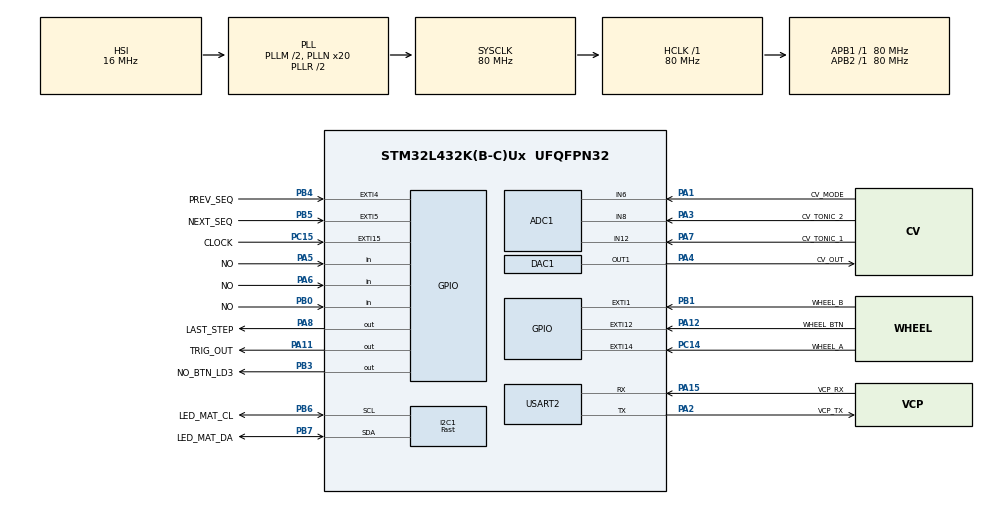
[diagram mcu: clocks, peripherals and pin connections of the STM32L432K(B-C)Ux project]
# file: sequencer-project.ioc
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ADC1.Channel-1\#ChannelRegularConversion=ADC_CHANNEL_12
ADC1.Channel-2\#ChannelRegularConversion=ADC_CHANNEL_8
ADC1.Channel-3\#ChannelRegularConversion=ADC_CHANNEL_6
ADC1.ContinuousConvMode=ENABLE
ADC1.DMAContinuousRequests=ENABLE
ADC1.DataAlign=ADC_DATAALIGN_RIGHT
ADC1.ExternalTrigConv=ADC_SOFTWARE_START
ADC1.NbrOfConversion=3
ADC1.NbrOfConversionFlag=1
ADC1.OffsetNumber-1\#ChannelRegularConversion=ADC_OFFSET_NONE
ADC1.OffsetNumber-2\#ChannelRegularConversion=ADC_OFFSET_NONE
ADC1.OffsetNumber-3\#ChannelRegularConversion=ADC_OFFSET_NONE
ADC1.Rank-1\#ChannelRegularConversion=1
ADC1.Rank-2\#ChannelRegularConversion=2
ADC1.Rank-3\#ChannelRegularConversion=3
ADC1.SamplingTime-1\#ChannelRegularConversion=ADC_SAMPLETIME_12CYCLES_5
ADC1.SamplingTime-2\#ChannelRegularConversion=ADC_SAMPLETIME_2CYCLES_5
ADC1.SamplingTime-3\#ChannelRegularConversion=ADC_SAMPLETIME_2CYCLES_5
ADC1.master=1
Dma.ADC1.0.Direction=DMA_PERIPH_TO_MEMORY
Dma.ADC1.0.Instance=DMA1_Channel1
Dma.ADC1.0.MemDataAlignment=DMA_MDATAALIGN_HALFWORD
Dma.ADC1.0.MemInc=DMA_MINC_ENABLE
Dma.ADC1.0.Mode=DMA_CIRCULAR
Dma.ADC1.0.PeriphDataAlignment=DMA_PDATAALIGN_HALFWORD
Dma.ADC1.0.PeriphInc=DMA_PINC_DISABLE
Dma.ADC1.0.Priority=DMA_PRIORITY_LOW
Dma.Request0=ADC1
I2C1.I2C_Speed_Mode=I2C_Fast
I2C1.OwnAddress=0x70
I2C1.Timing=0x00702991
Mcu.Family=STM32L4
Mcu.Name=STM32L432K(B-C)Ux
Mcu.Package=UFQFPN32
NVIC.EXTI15_10_IRQn=true\:0\:0\:true\:false\:true\:true\:true
NVIC.EXTI1_IRQn=true\:2\:0\:true\:false\:true\:true\:true
NVIC.EXTI9_5_IRQn=true\:2\:0\:true\:false\:true\:true\:true
NVIC.PriorityGroup=NVIC_PRIORITYGROUP_4
NVIC.TIM2_IRQn=true\:3\:0\:true\:false\:true\:true\:true
NVIC.TIM6_DAC_IRQn=true\:1\:0\:true\:false\:true\:true\:true
PA0.GPIO_Label=MCO [High speed clock in]
PA0.Mode=HSE-External-Clock-Source-for-LittleOrca
PA0.Signal=RCC_CK_IN
PA1.GPIO_Label=CV_MODE
PA1.Signal=ADCx_IN6
PA11.GPIO_Label=TRIG_OUT
PA11.Signal=GPIO_Output
PA12.GPIO_Label=WHEEL_BTN
PA12.GPIO_ModeDefaultEXTI=GPIO_MODE_IT_RISING
PA12.Signal=GPXTI12
PA13\ (JTMS-SWDIO).GPIO_Label=SWDIO
PA13\ (JTMS-SWDIO).Mode=Serial_Wire
PA13\ (JTMS-SWDIO).Signal=SYS_JTMS-SWDIO
PA14\ (JTCK-SWCLK).GPIO_Label=SWCLK
PA14\ (JTCK-SWCLK).Mode=Serial_Wire
PA14\ (JTCK-SWCLK).Signal=SYS_JTCK-SWCLK
PA15\ (JTDI).GPIO_Label=VCP_RX
PA15\ (JTDI).Mode=Asynchronous
PA15\ (JTDI).Signal=USART2_RX
PA2.GPIO_Label=VCP_TX
PA2.Mode=Asynchronous
PA2.Signal=USART2_TX
PA3.GPIO_Label=CV_TONIC_2
PA3.Signal=ADCx_IN8
PA4.GPIO_Label=CV_OUT
PA4.Signal=COMP_DAC11_group
PA5.GPIO_Label=NO
PA5.Signal=GPIO_Input
PA6.GPIO_Label=NO
PA6.Signal=GPIO_Input
PA7.GPIO_Label=CV_TONIC_1
PA7.Signal=ADCx_IN12
PA8.GPIO_Label=LAST_STEP
PA8.Signal=GPIO_Output
PB0.GPIO_Label=NO
PB0.Signal=GPIO_Input
PB1.GPIO_Label=WHEEL_B
PB1.Signal=GPXTI1
PB3\ (JTDO-TRACESWO).GPIO_Label=NO_BTN_LD3
PB3\ (JTDO-TRACESWO).Signal=GPIO_Output
PB4\ (NJTRST).GPIO_Label=PREV_SEQ
PB4\ (NJTRST).Signal=GPXTI4
PB5.GPIO_Label=NEXT_SEQ
PB5.GPIO_PuPd=GPIO_PULLUP
PB5.Signal=GPXTI5
PB6.GPIO_Label=LED_MAT_CL
PB6.Mode=I2C
PB6.Signal=I2C1_SCL
PB7.GPIO_Label=LED_MAT_DA
PB7.Mode=I2C
PB7.Signal=I2C1_SDA
PC14-OSC32_IN\ (PC14).GPIO_Label=WHEEL_A
PC14-OSC32_IN\ (PC14).Signal=GPXTI14
PC15-OSC32_OUT\ (PC15).GPIO_Label=CLOCK
PC15-OSC32_OUT\ (PC15).GPIO_PuPd=GPIO_PULLUP
PC15-OSC32_OUT\ (PC15).Signal=GPXTI15
ProjectManager.HeapSize=0x200
ProjectManager.StackSize=0x400
ProjectManager.TargetToolchain=STM32CubeIDE
RCC.ADCFreq_Value=32000000
RCC.AHBFreq_Value=80000000
RCC.APB1Freq_Value=80000000
RCC.APB1TimFreq_Value=80000000
RCC.APB2Freq_Value=80000000
RCC.APB2TimFreq_Value=80000000
RCC.CK48CLockSelection=RCC_USBCLKSOURCE_HSI48
RCC.CortexFreq_Value=80000000
RCC.HCLKFreq_Value=80000000
RCC.HSE_VALUE=8000000
RCC.HSI16_VALUE=16000000
RCC.HSI48_VALUE=48000000
RCC.HSI_VALUE=16000000
RCC.LSE_VALUE=32768
RCC.MSI_VALUE=4000000
RCC.PLLM=2
RCC.PLLMUL=RCC_PLLMUL_4
RCC.PLLN=20
RCC.PLLSourceVirtual=RCC_PLLSOURCE_HSI
RCC.SYSCLKFreq_VALUE=80000000
RCC.SYSCLKSource=RCC_SYSCLKSOURCE_PLLCLK
RCC.USBFreq_Value=48000000
RCC.VCOOutputFreq_Value=160000000
SH.ADCx_IN12.0=ADC1_IN12,IN12-Single-Ended
SH.ADCx_IN6.0=ADC1_IN6,IN6-Single-Ended
SH.ADCx_IN8.0=ADC1_IN8,IN8-Single-Ended
SH.COMP_DAC11_group.0=DAC1_OUT1,DAC_OUT1
TIM2.Period=7999999
TIM2.TIM_MasterOutputTrigger=TIM_TRGO_UPDATE
TIM6.Period=7999
TIM6.Prescaler=4999
USART2.VirtualMode-Asynchronous=VM_ASYNC
VP_RNG_VS_RNG.Mode=RNG_Activate
VP_TIM2_VS_ClockSourceINT.Mode=Internal
VP_TIM6_VS_ClockSourceINT.Mode=Enable_Timer
board=NUCLEO-L432KC

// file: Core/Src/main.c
/* USER CODE BEGIN Header */
/**
  ******************************************************************************
  * @file           : main.c
  * @brief          : Main program body
  ******************************************************************************
  * @attention
  *
  * <h2><center>&copy; Copyright (c) 2021 STMicroelectronics.
  * All rights reserved.</center></h2>
  *
  * This software component is licensed by ST under BSD 3-Clause license,
  * the "License"; You may not use this file except in compliance with the
  * License. You may obtain a copy of the License at:
  *                        opensource.org/licenses/BSD-3-Clause
  *
  ******************************************************************************
  */
/* USER CODE END Header */
#include "main.h"

ADC_HandleTypeDef hadc1;
DMA_HandleTypeDef hdma_adc1;

DAC_HandleTypeDef hdac1;

I2C_HandleTypeDef hi2c1;

RNG_HandleTypeDef hrng;

TIM_HandleTypeDef htim2;
TIM_HandleTypeDef htim6;

UART_HandleTypeDef huart2;

/* USER CODE BEGIN PV */
seq_TypeDef seq_struct;
uint16_t seq_adc[3];
uint16_t conversion_table[0x1000];
seq_parametres_TypeDef parametres;
seq_memoire_TypeDef memory;

/* USER CODE END PV */

void SystemClock_Config(void);
static void MX_GPIO_Init(void);
static void MX_DMA_Init(void);
static void MX_USART2_UART_Init(void);
static void MX_ADC1_Init(void);
static void MX_DAC1_Init(void);
static void MX_I2C1_Init(void);
static void MX_TIM2_Init(void);
static void MX_RNG_Init(void);
static void MX_TIM6_Init(void);

int main(void)
{

  /* MCU Configuration--------------------------------------------------------*/

  /* Reset of all peripherals, Initializes the Flash interface and the Systick. */
  HAL_Init();

  /* Configure the system clock */
  SystemClock_Config();

  /* Initialize all configured peripherals */
  MX_GPIO_Init();
  MX_DMA_Init();
  MX_USART2_UART_Init();
  MX_ADC1_Init();
  MX_DAC1_Init();
  MX_I2C1_Init();
  MX_TIM2_Init();
  MX_RNG_Init();
  MX_TIM6_Init();
  /* USER CODE BEGIN 2 */

  for(int i=0; i<8; ++i)
  {
	  memory.def[i] = 0;
  }
  memory.position = 0;

  const int32_t n1_cal = 1927;
  const int32_t n2_cal = 2167;
  const float v1_pre_correction = 1.0078; //V pré-correction
  const float v2_pre_correction = 2.2395; //V pré-correction
  const float gain_ideal = 1./12.;
  const float offset_ideal = -gain_ideal * 60;

//const float offset_correction = 0;
//const float gain_correction = 1;

  const float gain_correction = gain_ideal
		  * (n1_cal - n2_cal)
		  /(v1_pre_correction - v2_pre_correction);
  const float offset_correction =
		  (
				  (n1_cal - n2_cal) * offset_ideal
				  + n2_cal * v1_pre_correction
				  - n1_cal * v2_pre_correction)
		  /(v1_pre_correction - v2_pre_correction);

  int32_t temp;
  uint32_t i;

  for(i=0; i<0x1000; ++i)
  {
  	  temp = gain_correction * i + offset_correction;
  	  if(temp>0xFFF) temp = 0xFFF;
  	  else if(temp<0) temp = 0;
  	  conversion_table[i] = (uint16_t) (temp);
  }

  uint8_t mat_init[3] = {0x21,0xE0,0x81};
  HAL_Delay(1);
  RNG->CR |=1;
  for(int i=0; i<3;++i)
  {
	  HAL_I2C_Master_Transmit(&hi2c1, 0xE0, &(mat_init[i]), 1, 1000);
	  HAL_Delay(1);
  }
  //HAL_I2C_Master_Transmit(&hi2c1, 0xE0, table, 17, 1000);
  seq_struct.step = 0;
  seq_struct.leds[0] = 0;

//  seq_gen(&seq_struct);
  HAL_ADC_Start_DMA(&hadc1, (uint32_t*) seq_adc, 3);
  HAL_DAC_Start(&hdac1, DAC_CHANNEL_1);
  parametres.tonique_jck = 60;
  parametres.tonique_jck = 60;
  seq_read_mem(&memory);

  HAL_TIM_Base_Start_IT(&htim6);

  HAL_TIM_Base_Start_IT(&htim2);
  /* USER CODE END 2 */

  /* Infinite loop */
  while (1)
  {

  }
}

void SystemClock_Config(void)
{
  RCC_OscInitTypeDef RCC_OscInitStruct = {0};
  RCC_ClkInitTypeDef RCC_ClkInitStruct = {0};
  RCC_PeriphCLKInitTypeDef PeriphClkInit = {0};

  /** Initializes the RCC Oscillators according to the specified parameters
  * in the RCC_OscInitTypeDef structure.
  */
  RCC_OscInitStruct.OscillatorType = RCC_OSCILLATORTYPE_HSI48|RCC_OSCILLATORTYPE_HSI;
  RCC_OscInitStruct.HSIState = RCC_HSI_ON;
  RCC_OscInitStruct.HSI48State = RCC_HSI48_ON;
  RCC_OscInitStruct.HSICalibrationValue = RCC_HSICALIBRATION_DEFAULT;
  RCC_OscInitStruct.PLL.PLLState = RCC_PLL_ON;
  RCC_OscInitStruct.PLL.PLLSource = RCC_PLLSOURCE_HSI;
  RCC_OscInitStruct.PLL.PLLM = 2;
  RCC_OscInitStruct.PLL.PLLN = 20;
  RCC_OscInitStruct.PLL.PLLP = RCC_PLLP_DIV7;
  RCC_OscInitStruct.PLL.PLLQ = RCC_PLLQ_DIV2;
  RCC_OscInitStruct.PLL.PLLR = RCC_PLLR_DIV2;
  if (HAL_RCC_OscConfig(&RCC_OscInitStruct) != HAL_OK)
  {
    Error_Handler();
  }
  /** Initializes the CPU, AHB and APB buses clocks
  */
  RCC_ClkInitStruct.ClockType = RCC_CLOCKTYPE_HCLK|RCC_CLOCKTYPE_SYSCLK
                              |RCC_CLOCKTYPE_PCLK1|RCC_CLOCKTYPE_PCLK2;
  RCC_ClkInitStruct.SYSCLKSource = RCC_SYSCLKSOURCE_PLLCLK;
  RCC_ClkInitStruct.AHBCLKDivider = RCC_SYSCLK_DIV1;
  RCC_ClkInitStruct.APB1CLKDivider = RCC_HCLK_DIV1;
  RCC_ClkInitStruct.APB2CLKDivider = RCC_HCLK_DIV1;

  if (HAL_RCC_ClockConfig(&RCC_ClkInitStruct, FLASH_LATENCY_4) != HAL_OK)
  {
    Error_Handler();
  }
  PeriphClkInit.PeriphClockSelection = RCC_PERIPHCLK_USART2|RCC_PERIPHCLK_I2C1
                              |RCC_PERIPHCLK_RNG|RCC_PERIPHCLK_ADC;
  PeriphClkInit.Usart2ClockSelection = RCC_USART2CLKSOURCE_PCLK1;
  PeriphClkInit.I2c1ClockSelection = RCC_I2C1CLKSOURCE_PCLK1;
  PeriphClkInit.AdcClockSelection = RCC_ADCCLKSOURCE_PLLSAI1;
  PeriphClkInit.RngClockSelection = RCC_RNGCLKSOURCE_HSI48;
  PeriphClkInit.PLLSAI1.PLLSAI1Source = RCC_PLLSOURCE_HSI;
  PeriphClkInit.PLLSAI1.PLLSAI1M = 2;
  PeriphClkInit.PLLSAI1.PLLSAI1N = 8;
  PeriphClkInit.PLLSAI1.PLLSAI1P = RCC_PLLP_DIV7;
  PeriphClkInit.PLLSAI1.PLLSAI1Q = RCC_PLLQ_DIV2;
  PeriphClkInit.PLLSAI1.PLLSAI1R = RCC_PLLR_DIV2;
  PeriphClkInit.PLLSAI1.PLLSAI1ClockOut = RCC_PLLSAI1_ADC1CLK;
  if (HAL_RCCEx_PeriphCLKConfig(&PeriphClkInit) != HAL_OK)
  {
    Error_Handler();
  }
  /** Configure the main internal regulator output voltage
  */
  if (HAL_PWREx_ControlVoltageScaling(PWR_REGULATOR_VOLTAGE_SCALE1) != HAL_OK)
  {
    Error_Handler();
  }
}

static void MX_ADC1_Init(void)
{

  ADC_ChannelConfTypeDef sConfig = {0};

  /** Common config
  */
  hadc1.Instance = ADC1;
  hadc1.Init.ClockPrescaler = ADC_CLOCK_ASYNC_DIV1;
  hadc1.Init.Resolution = ADC_RESOLUTION_12B;
  hadc1.Init.DataAlign = ADC_DATAALIGN_RIGHT;
  hadc1.Init.ScanConvMode = ADC_SCAN_ENABLE;
  hadc1.Init.EOCSelection = ADC_EOC_SINGLE_CONV;
  hadc1.Init.LowPowerAutoWait = DISABLE;
  hadc1.Init.ContinuousConvMode = ENABLE;
  hadc1.Init.NbrOfConversion = 3;
  hadc1.Init.DiscontinuousConvMode = DISABLE;
  hadc1.Init.ExternalTrigConv = ADC_SOFTWARE_START;
  hadc1.Init.ExternalTrigConvEdge = ADC_EXTERNALTRIGCONVEDGE_NONE;
  hadc1.Init.DMAContinuousRequests = ENABLE;
  hadc1.Init.Overrun = ADC_OVR_DATA_PRESERVED;
  hadc1.Init.OversamplingMode = DISABLE;
  if (HAL_ADC_Init(&hadc1) != HAL_OK)
  {
    Error_Handler();
  }
  /** Configure Regular Channel
  */
  sConfig.Channel = ADC_CHANNEL_12;
  sConfig.Rank = ADC_REGULAR_RANK_1;
  sConfig.SamplingTime = ADC_SAMPLETIME_12CYCLES_5;
  sConfig.SingleDiff = ADC_SINGLE_ENDED;
  sConfig.OffsetNumber = ADC_OFFSET_NONE;
  sConfig.Offset = 0;
  if (HAL_ADC_ConfigChannel(&hadc1, &sConfig) != HAL_OK)
  {
    Error_Handler();
  }
  /** Configure Regular Channel
  */
  sConfig.Channel = ADC_CHANNEL_8;
  sConfig.Rank = ADC_REGULAR_RANK_2;
  sConfig.SamplingTime = ADC_SAMPLETIME_2CYCLES_5;
  if (HAL_ADC_ConfigChannel(&hadc1, &sConfig) != HAL_OK)
  {
    Error_Handler();
  }
  /** Configure Regular Channel
  */
  sConfig.Channel = ADC_CHANNEL_6;
  sConfig.Rank = ADC_REGULAR_RANK_3;
  if (HAL_ADC_ConfigChannel(&hadc1, &sConfig) != HAL_OK)
  {
    Error_Handler();
  }

}

static void MX_DAC1_Init(void)
{

  DAC_ChannelConfTypeDef sConfig = {0};

  /** DAC Initialization
  */
  hdac1.Instance = DAC1;
  if (HAL_DAC_Init(&hdac1) != HAL_OK)
  {
    Error_Handler();
  }
  /** DAC channel OUT1 config
  */
  sConfig.DAC_SampleAndHold = DAC_SAMPLEANDHOLD_DISABLE;
  sConfig.DAC_Trigger = DAC_TRIGGER_NONE;
  sConfig.DAC_OutputBuffer = DAC_OUTPUTBUFFER_ENABLE;
  sConfig.DAC_ConnectOnChipPeripheral = DAC_CHIPCONNECT_DISABLE;
  sConfig.DAC_UserTrimming = DAC_TRIMMING_FACTORY;
  if (HAL_DAC_ConfigChannel(&hdac1, &sConfig, DAC_CHANNEL_1) != HAL_OK)
  {
    Error_Handler();
  }

}

static void MX_I2C1_Init(void)
{

  hi2c1.Instance = I2C1;
  hi2c1.Init.Timing = 0x00702991;
  hi2c1.Init.OwnAddress1 = 224;
  hi2c1.Init.AddressingMode = I2C_ADDRESSINGMODE_7BIT;
  hi2c1.Init.DualAddressMode = I2C_DUALADDRESS_DISABLE;
  hi2c1.Init.OwnAddress2 = 0;
  hi2c1.Init.OwnAddress2Masks = I2C_OA2_NOMASK;
  hi2c1.Init.GeneralCallMode = I2C_GENERALCALL_DISABLE;
  hi2c1.Init.NoStretchMode = I2C_NOSTRETCH_DISABLE;
  if (HAL_I2C_Init(&hi2c1) != HAL_OK)
  {
    Error_Handler();
  }
  /** Configure Analogue filter
  */
  if (HAL_I2CEx_ConfigAnalogFilter(&hi2c1, I2C_ANALOGFILTER_ENABLE) != HAL_OK)
  {
    Error_Handler();
  }
  /** Configure Digital filter
  */
  if (HAL_I2CEx_ConfigDigitalFilter(&hi2c1, 0) != HAL_OK)
  {
    Error_Handler();
  }

}

static void MX_RNG_Init(void)
{

  hrng.Instance = RNG;
  if (HAL_RNG_Init(&hrng) != HAL_OK)
  {
    Error_Handler();
  }

}

static void MX_TIM2_Init(void)
{

  TIM_ClockConfigTypeDef sClockSourceConfig = {0};
  TIM_MasterConfigTypeDef sMasterConfig = {0};

  htim2.Instance = TIM2;
  htim2.Init.Prescaler = 0;
  htim2.Init.CounterMode = TIM_COUNTERMODE_UP;
  htim2.Init.Period = 7999999;
  htim2.Init.ClockDivision = TIM_CLOCKDIVISION_DIV1;
  htim2.Init.AutoReloadPreload = TIM_AUTORELOAD_PRELOAD_DISABLE;
  if (HAL_TIM_Base_Init(&htim2) != HAL_OK)
  {
    Error_Handler();
  }
  sClockSourceConfig.ClockSource = TIM_CLOCKSOURCE_INTERNAL;
  if (HAL_TIM_ConfigClockSource(&htim2, &sClockSourceConfig) != HAL_OK)
  {
    Error_Handler();
  }
  sMasterConfig.MasterOutputTrigger = TIM_TRGO_UPDATE;
  sMasterConfig.MasterSlaveMode = TIM_MASTERSLAVEMODE_DISABLE;
  if (HAL_TIMEx_MasterConfigSynchronization(&htim2, &sMasterConfig) != HAL_OK)
  {
    Error_Handler();
  }

}

static void MX_TIM6_Init(void)
{

  TIM_MasterConfigTypeDef sMasterConfig = {0};

  htim6.Instance = TIM6;
  htim6.Init.Prescaler = 4999;
  htim6.Init.CounterMode = TIM_COUNTERMODE_UP;
  htim6.Init.Period = 7999;
  htim6.Init.AutoReloadPreload = TIM_AUTORELOAD_PRELOAD_DISABLE;
  if (HAL_TIM_Base_Init(&htim6) != HAL_OK)
  {
    Error_Handler();
  }
  sMasterConfig.MasterOutputTrigger = TIM_TRGO_RESET;
  sMasterConfig.MasterSlaveMode = TIM_MASTERSLAVEMODE_DISABLE;
  if (HAL_TIMEx_MasterConfigSynchronization(&htim6, &sMasterConfig) != HAL_OK)
  {
    Error_Handler();
  }

}

static void MX_USART2_UART_Init(void)
{

  huart2.Instance = USART2;
  huart2.Init.BaudRate = 115200;
  huart2.Init.WordLength = UART_WORDLENGTH_8B;
  huart2.Init.StopBits = UART_STOPBITS_1;
  huart2.Init.Parity = UART_PARITY_NONE;
  huart2.Init.Mode = UART_MODE_TX_RX;
  huart2.Init.HwFlowCtl = UART_HWCONTROL_NONE;
  huart2.Init.OverSampling = UART_OVERSAMPLING_16;
  huart2.Init.OneBitSampling = UART_ONE_BIT_SAMPLE_DISABLE;
  huart2.AdvancedInit.AdvFeatureInit = UART_ADVFEATURE_NO_INIT;
  if (HAL_UART_Init(&huart2) != HAL_OK)
  {
    Error_Handler();
  }

}

static void MX_DMA_Init(void)
{

  /* DMA controller clock enable */
  __HAL_RCC_DMA1_CLK_ENABLE();

}

static void MX_GPIO_Init(void)
{
  GPIO_InitTypeDef GPIO_InitStruct = {0};

  /* GPIO Ports Clock Enable */
  __HAL_RCC_GPIOC_CLK_ENABLE();
  __HAL_RCC_GPIOA_CLK_ENABLE();
  __HAL_RCC_GPIOB_CLK_ENABLE();

  /*Configure GPIO pin Output Level */
  HAL_GPIO_WritePin(GPIOA, LAST_STEP_Pin|TRIG_OUT_Pin, GPIO_PIN_RESET);

  /*Configure GPIO pin Output Level */
  HAL_GPIO_WritePin(NO_BTN_LD3_GPIO_Port, NO_BTN_LD3_Pin, GPIO_PIN_RESET);

  /*Configure GPIO pin : WHEEL_A_Pin */
  GPIO_InitStruct.Pin = WHEEL_A_Pin;
  GPIO_InitStruct.Mode = GPIO_MODE_IT_RISING;
  GPIO_InitStruct.Pull = GPIO_NOPULL;
  HAL_GPIO_Init(WHEEL_A_GPIO_Port, &GPIO_InitStruct);

  /*Configure GPIO pin : CLOCK_Pin */
  GPIO_InitStruct.Pin = CLOCK_Pin;
  GPIO_InitStruct.Mode = GPIO_MODE_IT_RISING;
  GPIO_InitStruct.Pull = GPIO_PULLUP;
  HAL_GPIO_Init(CLOCK_GPIO_Port, &GPIO_InitStruct);

  /*Configure GPIO pins : NO_Pin NOA6_Pin */
  GPIO_InitStruct.Pin = NO_Pin|NOA6_Pin;
  GPIO_InitStruct.Mode = GPIO_MODE_INPUT;
  GPIO_InitStruct.Pull = GPIO_NOPULL;
  HAL_GPIO_Init(GPIOA, &GPIO_InitStruct);

  /*Configure GPIO pin : NOB0_Pin */
  GPIO_InitStruct.Pin = NOB0_Pin;
  GPIO_InitStruct.Mode = GPIO_MODE_INPUT;
  GPIO_InitStruct.Pull = GPIO_NOPULL;
  HAL_GPIO_Init(NOB0_GPIO_Port, &GPIO_InitStruct);

  /*Configure GPIO pins : WHEEL_B_Pin PREV_SEQ_Pin */
  GPIO_InitStruct.Pin = WHEEL_B_Pin|PREV_SEQ_Pin;
  GPIO_InitStruct.Mode = GPIO_MODE_IT_RISING;
  GPIO_InitStruct.Pull = GPIO_NOPULL;
  HAL_GPIO_Init(GPIOB, &GPIO_InitStruct);

  /*Configure GPIO pins : LAST_STEP_Pin TRIG_OUT_Pin */
  GPIO_InitStruct.Pin = LAST_STEP_Pin|TRIG_OUT_Pin;
  GPIO_InitStruct.Mode = GPIO_MODE_OUTPUT_PP;
  GPIO_InitStruct.Pull = GPIO_NOPULL;
  GPIO_InitStruct.Speed = GPIO_SPEED_FREQ_LOW;
  HAL_GPIO_Init(GPIOA, &GPIO_InitStruct);

  /*Configure GPIO pin : WHEEL_BTN_Pin */
  GPIO_InitStruct.Pin = WHEEL_BTN_Pin;
  GPIO_InitStruct.Mode = GPIO_MODE_IT_RISING;
  GPIO_InitStruct.Pull = GPIO_NOPULL;
  HAL_GPIO_Init(WHEEL_BTN_GPIO_Port, &GPIO_InitStruct);

  /*Configure GPIO pin : NO_BTN_LD3_Pin */
  GPIO_InitStruct.Pin = NO_BTN_LD3_Pin;
  GPIO_InitStruct.Mode = GPIO_MODE_OUTPUT_PP;
  GPIO_InitStruct.Pull = GPIO_NOPULL;
  GPIO_InitStruct.Speed = GPIO_SPEED_FREQ_LOW;
  HAL_GPIO_Init(NO_BTN_LD3_GPIO_Port, &GPIO_InitStruct);

  /*Configure GPIO pin : NEXT_SEQ_Pin */
  GPIO_InitStruct.Pin = NEXT_SEQ_Pin;
  GPIO_InitStruct.Mode = GPIO_MODE_IT_RISING;
  GPIO_InitStruct.Pull = GPIO_PULLUP;
  HAL_GPIO_Init(NEXT_SEQ_GPIO_Port, &GPIO_InitStruct);

  /* EXTI interrupt init*/
  HAL_NVIC_SetPriority(EXTI1_IRQn, 2, 0);
  HAL_NVIC_EnableIRQ(EXTI1_IRQn);

  HAL_NVIC_SetPriority(EXTI9_5_IRQn, 2, 0);
  HAL_NVIC_EnableIRQ(EXTI9_5_IRQn);

  HAL_NVIC_SetPriority(EXTI15_10_IRQn, 0, 0);
  HAL_NVIC_EnableIRQ(EXTI15_10_IRQn);

}

void Error_Handler(void)
{
  __disable_irq();
  while (1)
  {
  }
}

/************************ (C) COPYRIGHT STMicroelectronics *****END OF FILE****/
